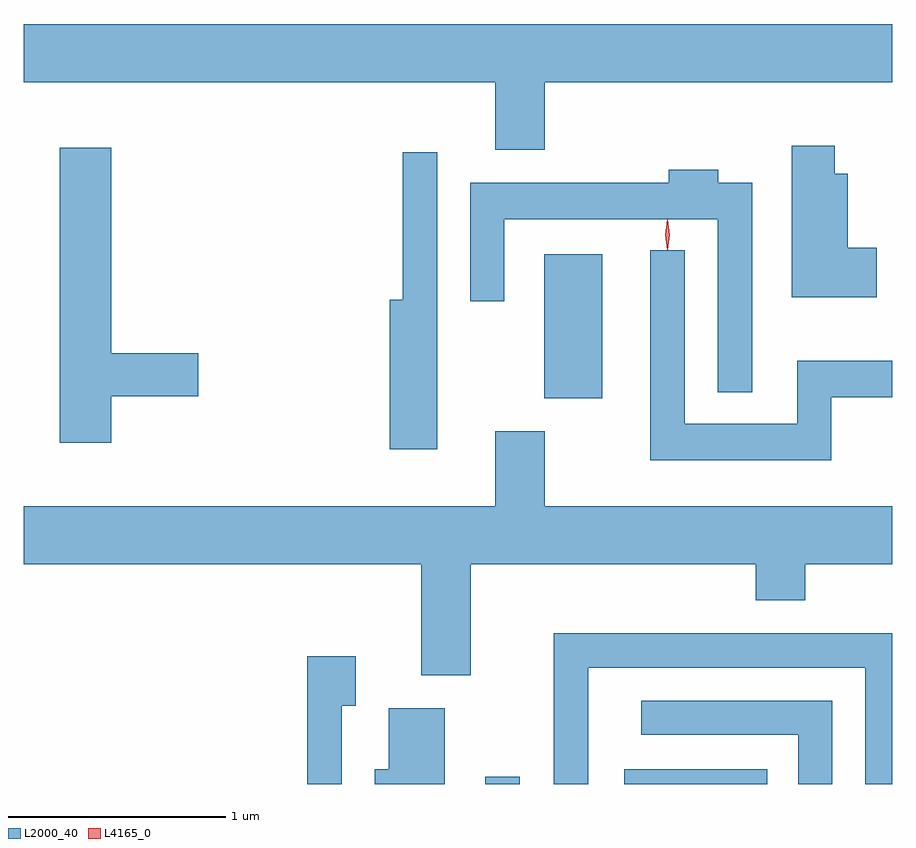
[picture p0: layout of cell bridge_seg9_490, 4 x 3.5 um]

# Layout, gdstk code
import gdstk
lib = gdstk.Library(unit=1e-6, precision=1e-09)
def R(c, l, rs):  # rectangles x0, y0, x1, y1
    for r in rs: c.add(gdstk.rectangle(r[:2], r[2:], *l))
def P(c, l, *ps):  # polygons
    for p in ps: c.add(gdstk.Polygon(p, *l))
L2000_40 = (2000, 40)
L4165_0 = (4165, 0)

bridge_seg9_490 = lib.new_cell('bridge_seg9_490')
R(bridge_seg9_490, L2000_40, [(547.626,1957.505,547.784,1957.538), (548.266,1957.505,548.923,1957.574), (547.896,1959.281,548.164,1959.944)])
P(bridge_seg9_490, L2000_40, [(547.899,1960.736),(549.5,1960.736),(549.5,1961.004),(545.5,1961.004),(545.5,1960.736),(547.671,1960.736),(547.671,1960.426),(547.899,1960.426)],
  [(549.429,1959.974),(549.294,1959.974),(549.294,1960.314),(549.234,1960.314),(549.234,1960.444),(549.036,1960.444),(549.036,1959.746),(549.429,1959.746)],
  [(545.904,1959.291),(546.304,1959.291),(546.304,1959.489),(545.904,1959.489),(545.904,1960.434),(545.666,1960.434),(545.666,1959.076),(545.904,1959.076)],
  [(547.404,1960.413),(547.246,1960.413),(547.246,1959.734),(547.186,1959.734),(547.186,1959.046),(547.404,1959.046)],
  [(548.854,1960.274),(548.699,1960.274),(548.699,1960.334),(548.471,1960.334),(548.471,1960.274),(547.556,1960.274),(547.556,1959.728),(547.714,1959.728),(547.714,1960.106),(548.696,1960.106),(548.696,1959.308),(548.854,1959.308)],
  [(549.219,1959.286),(549.5,1959.286),(549.5,1959.454),(549.061,1959.454),(549.061,1959.164),(548.544,1959.164),(548.544,1959.963),(548.386,1959.963),(548.386,1958.996),(549.219,1958.996)],
  [(547.559,1958.516),(548.871,1958.516),(548.871,1958.351),(549.099,1958.351),(549.099,1958.516),(549.5,1958.516),(549.5,1958.784),(547.899,1958.784),(547.899,1959.129),(547.671,1959.129),(547.671,1958.784),(545.5,1958.784),(545.5,1958.516),(547.331,1958.516),(547.331,1958.006),(547.559,1958.006)],
  [(548.099,1958.041),(549.376,1958.041),(549.376,1957.505),(549.5,1957.505),(549.5,1958.199),(547.941,1958.199),(547.941,1957.505),(548.099,1957.505)],
  [(546.964,1957.866),(547.029,1957.866),(547.029,1958.094),(546.806,1958.094),(546.806,1957.505),(546.964,1957.505)],
  [(549.224,1957.889),(548.343,1957.889),(548.343,1957.731),(549.066,1957.731),(549.066,1957.505),(549.224,1957.505)],
  [(547.439,1957.854),(547.181,1957.854),(547.181,1957.574),(547.116,1957.574),(547.116,1957.505),(547.439,1957.505)])
P(bridge_seg9_490, L4165_0, [(548.464,1959.964),(548.455,1960.033),(548.464,1960.102),(548.465,1960.103),(548.465,1960.102),(548.475,1960.033),(548.465,1959.964),(548.465,1959.964)],
  [(548.464,1959.967),(548.455,1960.034),(548.464,1960.1),(548.465,1960.1),(548.466,1960.1),(548.475,1960.034),(548.466,1959.967),(548.465,1959.967)])

lib.write_gds('bridge_seg9_490.gds')
